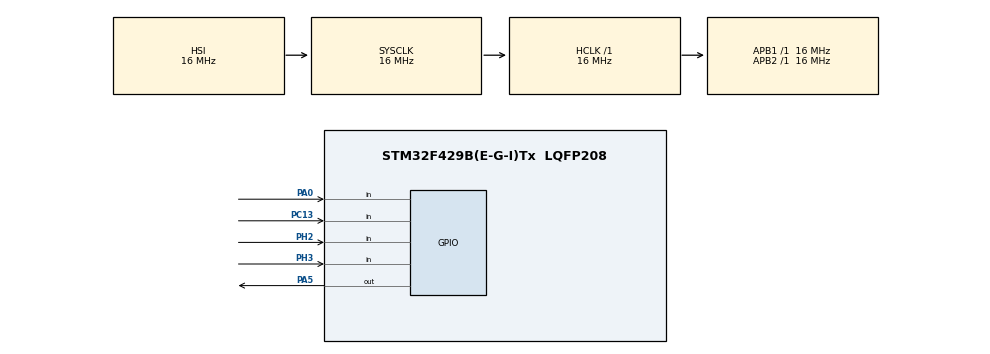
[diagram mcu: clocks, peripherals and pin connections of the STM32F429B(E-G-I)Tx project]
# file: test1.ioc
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Mcu.Family=STM32F4
Mcu.Name=STM32F429B(E-G-I)Tx
Mcu.Package=LQFP208
NVIC.PriorityGroup=NVIC_PRIORITYGROUP_4
PA0/WKUP.GPIO_PuPd=GPIO_PULLDOWN
PA0/WKUP.Signal=GPIO_Input
PA5.GPIO_PuPd=GPIO_PULLUP
PA5.GPIO_Speed=GPIO_SPEED_FREQ_MEDIUM
PA5.PinState=GPIO_PIN_RESET
PA5.Signal=GPIO_Output
PC13.GPIO_PuPd=GPIO_PULLUP
PC13.Signal=GPIO_Input
PH2.GPIO_PuPd=GPIO_PULLUP
PH2.Signal=GPIO_Input
PH3.GPIO_PuPd=GPIO_PULLUP
PH3.Signal=GPIO_Input
ProjectManager.HeapSize=0x200
ProjectManager.StackSize=0x400
ProjectManager.TargetToolchain=MDK-ARM V5
RCC.AHBFreq_Value=16000000
RCC.APB1Freq_Value=16000000
RCC.APB2Freq_Value=16000000
RCC.CortexFreq_Value=16000000
RCC.HSE_VALUE=25000000
RCC.HSI_VALUE=16000000
RCC.LSE_VALUE=32768
RCC.SYSCLKFreq_VALUE=16000000
RCC.VCOOutputFreq_Value=192000000
board=custom

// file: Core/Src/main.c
/* USER CODE BEGIN Header */
/**
  ******************************************************************************
  * @file           : main.c
  * @brief          : Main program body
  ******************************************************************************
  * @attention
  *
  * Copyright (c) 2026 STMicroelectronics.
  * All rights reserved.
  *
  * This software is licensed under terms that can be found in the LICENSE file
  * in the root directory of this software component.
  * If no LICENSE file comes with this software, it is provided AS-IS.
  *
  ******************************************************************************
  */
/* USER CODE END Header */

#include "main.h"

/* USER CODE BEGIN PD */

#define KEY0        HAL_GPIO_ReadPin(GPIOH, GPIO_PIN_3)
#define KEY1        HAL_GPIO_ReadPin(GPIOH, GPIO_PIN_2)
#define KEY2        HAL_GPIO_ReadPin(GPIOC, GPIO_PIN_13)
#define WK_UP       HAL_GPIO_ReadPin(GPIOA, GPIO_PIN_0)

#define KEY0_PRES   1
#define KEY1_PRES   2
#define KEY2_PRES   3
#define WKUP_PRES   4

#define LED0_PIN    GPIO_PIN_5
#define LED1_PIN    GPIO_PIN_5
#define LED0_PORT   GPIOB
#define LED1_PORT   GPIOG

/* USER CODE END PD */

void SystemClock_Config(void);
static void MX_GPIO_Init(void);
/* USER CODE BEGIN PFP */

void KEY_Init(void);
uint8_t KEY_Scan(uint8_t mode);
void LED_Init(void);

/* USER CODE END PFP */

/* USER CODE BEGIN 0 */

void delay_ms(uint32_t ms)
{
    uint32_t i, j;
    for(i = 0; i < ms; i++)
        for(j = 0; j < 1000; j++);
}

/* USER CODE END 0 */

int main(void)
{

  /* MCU Configuration--------------------------------------------------------*/

  /* Reset of all peripherals, Initializes the Flash interface and the Systick. */
  HAL_Init();

  /* Configure the system clock */
  SystemClock_Config();

  /* Initialize all configured peripherals */
  MX_GPIO_Init();
  /* USER CODE BEGIN 2 */

  KEY_Init();
  LED_Init();

  /* USER CODE END 2 */

  /* Infinite loop */
  while (1)
  {

    /* USER CODE BEGIN 3 */

    uint8_t key = KEY_Scan(0);

    switch(key)
    {
        case WKUP_PRES:
            HAL_GPIO_TogglePin(LED0_PORT, LED0_PIN);
            HAL_GPIO_TogglePin(LED1_PORT, LED1_PIN);
            break;
        case KEY2_PRES:
            HAL_GPIO_TogglePin(LED0_PORT, LED0_PIN);
            break;
        case KEY1_PRES:
            HAL_GPIO_TogglePin(LED1_PORT, LED1_PIN);
            break;
        case KEY0_PRES:
            HAL_GPIO_TogglePin(LED0_PORT, LED0_PIN);
            HAL_GPIO_TogglePin(LED1_PORT, LED1_PIN);
            break;
    }

    delay_ms(10);
  }
  /* USER CODE END 3 */
}

void SystemClock_Config(void)
{
  RCC_OscInitTypeDef RCC_OscInitStruct = {0};
  RCC_ClkInitTypeDef RCC_ClkInitStruct = {0};

  /** Configure the main internal regulator output voltage
  */
  __HAL_RCC_PWR_CLK_ENABLE();
  __HAL_PWR_VOLTAGESCALING_CONFIG(PWR_REGULATOR_VOLTAGE_SCALE3);

  /** Initializes the RCC Oscillators according to the specified parameters
  * in the RCC_OscInitTypeDef structure.
  */
  RCC_OscInitStruct.OscillatorType = RCC_OSCILLATORTYPE_HSI;
  RCC_OscInitStruct.HSIState = RCC_HSI_ON;
  RCC_OscInitStruct.HSICalibrationValue = RCC_HSICALIBRATION_DEFAULT;
  RCC_OscInitStruct.PLL.PLLState = RCC_PLL_NONE;
  if (HAL_RCC_OscConfig(&RCC_OscInitStruct) != HAL_OK)
  {
    Error_Handler();
  }

  /** Initializes the CPU, AHB and APB buses clocks
  */
  RCC_ClkInitStruct.ClockType = RCC_CLOCKTYPE_HCLK|RCC_CLOCKTYPE_SYSCLK
                              |RCC_CLOCKTYPE_PCLK1|RCC_CLOCKTYPE_PCLK2;
  RCC_ClkInitStruct.SYSCLKSource = RCC_SYSCLKSOURCE_HSI;
  RCC_ClkInitStruct.AHBCLKDivider = RCC_SYSCLK_DIV1;
  RCC_ClkInitStruct.APB1CLKDivider = RCC_HCLK_DIV1;
  RCC_ClkInitStruct.APB2CLKDivider = RCC_HCLK_DIV1;

  if (HAL_RCC_ClockConfig(&RCC_ClkInitStruct, FLASH_LATENCY_0) != HAL_OK)
  {
    Error_Handler();
  }
}

static void MX_GPIO_Init(void)
{
  GPIO_InitTypeDef GPIO_InitStruct = {0};

  /* GPIO Ports Clock Enable */
  __HAL_RCC_GPIOA_CLK_ENABLE();
  __HAL_RCC_GPIOB_CLK_ENABLE();
  __HAL_RCC_GPIOC_CLK_ENABLE();
  __HAL_RCC_GPIOG_CLK_ENABLE();
  __HAL_RCC_GPIOH_CLK_ENABLE();

  /*Configure GPIO pin Output Level */
  HAL_GPIO_WritePin(LED0_PORT, LED0_PIN, GPIO_PIN_RESET);
  HAL_GPIO_WritePin(LED1_PORT, LED1_PIN, GPIO_PIN_RESET);

  /*Configure GPIO pin : PA0 */
  GPIO_InitStruct.Pin = GPIO_PIN_0;
  GPIO_InitStruct.Mode = GPIO_MODE_INPUT;
  GPIO_InitStruct.Pull = GPIO_PULLDOWN;
  HAL_GPIO_Init(GPIOA, &GPIO_InitStruct);

  /*Configure GPIO pin : PC13 */
  GPIO_InitStruct.Pin = GPIO_PIN_13;
  GPIO_InitStruct.Mode = GPIO_MODE_INPUT;
  GPIO_InitStruct.Pull = GPIO_PULLUP;
  HAL_GPIO_Init(GPIOC, &GPIO_InitStruct);

  /*Configure GPIO pins : PH2 PH3 */
  GPIO_InitStruct.Pin = GPIO_PIN_2|GPIO_PIN_3;
  GPIO_InitStruct.Mode = GPIO_MODE_INPUT;
  GPIO_InitStruct.Pull = GPIO_PULLUP;
  HAL_GPIO_Init(GPIOH, &GPIO_InitStruct);

  /*Configure GPIO pins : PB5 PG5 */
  GPIO_InitStruct.Pin = LED0_PIN;
  GPIO_InitStruct.Mode = GPIO_MODE_OUTPUT_PP;
  GPIO_InitStruct.Pull = GPIO_PULLUP;
  GPIO_InitStruct.Speed = GPIO_SPEED_FREQ_MEDIUM;
  HAL_GPIO_Init(LED0_PORT, &GPIO_InitStruct);

  GPIO_InitStruct.Pin = LED1_PIN;
  HAL_GPIO_Init(LED1_PORT, &GPIO_InitStruct);
}

/* USER CODE BEGIN 4 */

void KEY_Init(void)
{
    GPIO_InitTypeDef GPIO_Initure;

    __HAL_RCC_GPIOA_CLK_ENABLE();
    __HAL_RCC_GPIOC_CLK_ENABLE();
    __HAL_RCC_GPIOH_CLK_ENABLE();

    GPIO_Initure.Pin = GPIO_PIN_0;
    GPIO_Initure.Mode = GPIO_MODE_INPUT;
    GPIO_Initure.Pull = GPIO_PULLDOWN;
    GPIO_Initure.Speed = GPIO_SPEED_HIGH;
    HAL_GPIO_Init(GPIOA, &GPIO_Initure);

    GPIO_Initure.Pin = GPIO_PIN_13;
    GPIO_Initure.Mode = GPIO_MODE_INPUT;
    GPIO_Initure.Pull = GPIO_PULLUP;
    GPIO_Initure.Speed = GPIO_SPEED_HIGH;
    HAL_GPIO_Init(GPIOC, &GPIO_Initure);

    GPIO_Initure.Pin = GPIO_PIN_2|GPIO_PIN_3;
    GPIO_Initure.Mode = GPIO_MODE_INPUT;
    GPIO_Initure.Pull = GPIO_PULLUP;
    GPIO_Initure.Speed = GPIO_SPEED_HIGH;
    HAL_GPIO_Init(GPIOH, &GPIO_Initure);
}

uint8_t KEY_Scan(uint8_t mode)
{
    static uint8_t key_up = 1;

    if(mode == 1) key_up = 1;

    if(key_up && (KEY0 == 0 || KEY1 == 0 || KEY2 == 0 || WK_UP == 1))
    {
        delay_ms(10);
        key_up = 0;

        if(KEY0 == 0)       return KEY0_PRES;
        else if(KEY1 == 0)  return KEY1_PRES;
        else if(KEY2 == 0)  return KEY2_PRES;
        else if(WK_UP == 1) return WKUP_PRES;
    }
    else if(KEY0 == 1 && KEY1 == 1 && KEY2 == 1 && WK_UP == 0)
    {
        key_up = 1;
    }

    return 0;
}

void LED_Init(void)
{
    HAL_GPIO_WritePin(LED0_PORT, LED0_PIN, GPIO_PIN_RESET);
    HAL_GPIO_WritePin(LED1_PORT, LED1_PIN, GPIO_PIN_RESET);
}

/* USER CODE END 4 */

void Error_Handler(void)
{
  __disable_irq();
  while (1)
  {
  }
}
